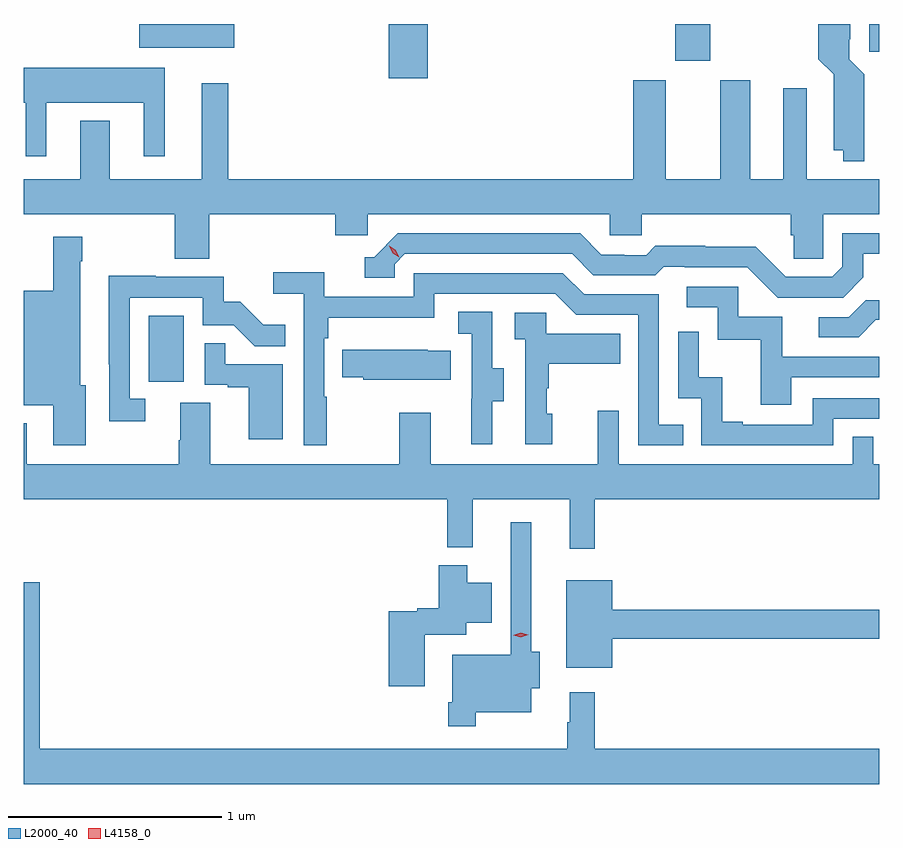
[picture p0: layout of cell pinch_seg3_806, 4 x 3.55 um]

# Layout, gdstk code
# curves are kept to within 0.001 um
import gdstk
lib = gdstk.Library(unit=1e-6, precision=1e-09)
def R(c, l, rs):  # rectangles x0, y0, x1, y1
    for r in rs: c.add(gdstk.rectangle(r[:2], r[2:], *l))
def P(c, l, *ps):  # polygons
    for p in ps: c.add(gdstk.Polygon(p, *l))
L2000_40 = (2000, 40)
L4158_0 = (4158, 0)

pinch_seg3_806 = lib.new_cell('pinch_seg3_806')
R(pinch_seg3_806, L2000_40, [(862.4,726.774,862.564,727.081), (863.522,728.193,863.705,728.446), (864.863,728.274,865.027,728.446), (865.769,728.316,865.816,728.446), (862.356,728.336,862.799,728.446)])
P(pinch_seg3_806, L2000_40, [(865.746,728.108),(865.747,728.21),(865.677,728.28),(865.677,728.374),(865.681,728.374),(865.681,728.446),(865.532,728.446),(865.532,728.282),(865.604,728.21),(865.604,727.856),(865.649,727.856),(865.649,727.805),(865.746,727.805)],
  [(861.922,728.078),(862.376,728.078),(862.376,727.827),(862.474,727.827),(862.474,728.242),(861.816,728.242),(861.816,728.078),(861.824,728.078),(861.824,727.827),(861.922,727.827)],
  [(862.682,727.556),(863.273,727.556),(863.273,727.458),(863.424,727.458),(863.424,727.556),(864.555,727.556),(864.555,727.458),(864.705,727.458),(864.705,727.556),(865.403,727.556),(865.403,727.458),(865.417,727.458),(865.417,727.348),(865.554,727.348),(865.554,727.556),(865.816,727.556),(865.816,727.72),(865.477,727.72),(865.477,728.146),(865.367,728.146),(865.367,727.72),(865.213,727.72),(865.213,728.182),(865.073,728.182),(865.073,727.72),(864.817,727.72),(864.817,728.182),(864.665,728.182),(864.665,727.72),(862.771,727.72),(862.771,728.17),(862.649,728.17),(862.649,727.72),(862.219,727.72),(862.219,727.993),(862.079,727.993),(862.079,727.72),(861.816,727.72),(861.816,727.556),(862.522,727.556),(862.522,727.348),(862.682,727.348)],
  [(865.741,727.261),(865.741,727.371),(865.816,727.371),(865.816,727.467),(865.644,727.467),(865.644,727.311),(865.596,727.263),(865.38,727.263),(865.238,727.405),(865.002,727.405),(865.002,727.408),(864.769,727.408),(864.727,727.365),(864.624,727.365),(864.624,727.368),(864.517,727.368),(864.418,727.467),(863.565,727.467),(863.454,727.356),(863.411,727.356),(863.411,727.26),(863.55,727.26),(863.55,727.323),(863.598,727.371),(864.381,727.371),(864.48,727.272),(864.769,727.272),(864.808,727.311),(864.907,727.311),(864.907,727.308),(865.2,727.308),(865.341,727.167),(865.647,727.167)],
  [(862.105,726.756),(862.081,726.756),(862.081,727.337),(862.089,727.337),(862.089,727.45),(861.953,727.45),(861.953,727.198),(861.816,727.198),(861.816,726.663),(861.953,726.663),(861.953,726.477),(862.105,726.477)],
  [(863.233,726.704),(863.22,726.704),(863.22,726.977),(863.24,726.977),(863.24,727.073),(863.736,727.073),(863.736,727.185),(864.3,727.185),(864.399,727.086),(864.69,727.086),(864.69,726.477),(864.899,726.477),(864.899,726.573),(864.786,726.573),(864.786,727.182),(864.436,727.182),(864.337,727.281),(863.64,727.281),(863.64,727.17),(863.222,727.17),(863.222,727.286),(862.983,727.286),(862.983,727.184),(863.124,727.184),(863.124,726.477),(863.233,726.477)],
  [(862.384,726.693),(862.311,726.693),(862.311,727.167),(862.653,727.167),(862.653,727.038),(862.797,727.038),(862.895,726.94),(863.039,726.94),(863.039,727.039),(862.935,727.039),(862.828,727.146),(862.752,727.146),(862.752,727.263),(862.433,727.263),(862.433,727.268),(862.214,727.268),(862.215,726.588),(862.384,726.588)],
  [(865.405,726.795),(865.816,726.795),(865.816,726.891),(865.363,726.891),(865.363,727.077),(865.158,727.077),(865.158,727.218),(864.915,727.218),(864.915,727.122),(865.062,727.122),(865.062,726.969),(865.261,726.969),(865.261,726.666),(865.405,726.666)],
  [(865.801,727.062),(865.816,727.062),(865.816,727.154),(865.754,727.154),(865.674,727.074),(865.533,727.074),(865.533,726.981),(865.72,726.981)],
  [(864.007,726.682),(864.061,726.682),(864.061,726.837),(864.006,726.837),(864.006,727.1),(863.847,727.1),(863.847,726.997),(863.91,726.997),(863.91,726.693),(863.909,726.693),(863.909,726.48),(864.007,726.48)],
  [(864.286,726.624),(864.261,726.624),(864.261,726.743),(864.271,726.743),(864.271,726.857),(864.605,726.857),(864.605,726.997),(864.258,726.997),(864.258,727.095),(864.111,727.095),(864.111,726.971),(864.162,726.971),(864.162,726.48),(864.286,726.48)],
  [(865.602,726.6),(865.816,726.6),(865.816,726.696),(865.506,726.696),(865.506,726.573),(865.177,726.573),(865.177,726.586),(865.082,726.586),(865.082,726.794),(864.972,726.794),(864.972,727.006),(864.876,727.006),(864.876,726.696),(864.984,726.696),(864.984,726.477),(865.602,726.477)],
  [(863.026,726.855),(862.757,726.855),(862.757,726.953),(862.662,726.953),(862.662,726.759),(862.769,726.759),(862.769,726.747),(862.868,726.747),(862.868,726.504),(863.026,726.504)],
  [(863.813,726.919),(863.705,726.919),(863.705,726.922),(863.305,726.922),(863.305,726.793),(863.403,726.793),(863.403,726.782),(863.813,726.782)],
  [(864.485,726.224),(865.816,726.224),(865.816,726.388),(865.788,726.388),(865.788,726.515),(865.692,726.515),(865.692,726.388),(864.597,726.388),(864.597,726.637),(864.5,726.637),(864.5,726.388),(863.719,726.388),(863.719,726.628),(863.572,726.628),(863.572,726.388),(862.687,726.388),(862.687,726.674),(862.547,726.674),(862.547,726.5),(862.54,726.5),(862.54,726.388),(861.829,726.388),(861.829,726.578),(861.816,726.578),(861.816,726.224),(863.797,726.224),(863.797,725.999),(863.915,725.999),(863.915,726.224),(864.368,726.224),(864.368,725.991),(864.485,725.991)],
  [(863.929,725.228),(864.19,725.228),(864.19,725.339),(864.229,725.339),(864.229,725.51),(864.19,725.51),(864.19,726.115),(864.093,726.115),(864.093,725.497),(863.82,725.497),(863.82,725.275),(863.8,725.275),(863.8,725.163),(863.929,725.163)],
  [(863.692,725.591),(863.884,725.591),(863.884,725.645),(864.004,725.645),(864.004,725.833),(863.89,725.833),(863.89,725.914),(863.756,725.914),(863.756,725.714),(863.655,725.714),(863.655,725.701),(863.522,725.701),(863.522,725.349),(863.692,725.349)],
  [(864.568,725.572),(865.816,725.572),(865.816,725.708),(864.568,725.708),(864.568,725.845),(864.353,725.845),(864.353,725.435),(864.568,725.435)],
  [(865.816,725.056),(864.485,725.056),(864.485,725.32),(864.368,725.32),(864.368,725.18),(864.357,725.18),(864.357,725.056),(861.89,725.056),(861.89,725.836),(861.816,725.836),(861.816,724.892),(865.816,724.892)])
P(pinch_seg3_806, L4158_0, [(863.572,727.355),(863.542,727.375),(863.526,727.408),(863.526,727.408),(863.526,727.408),(863.556,727.388),(863.572,727.356),(863.572,727.355)],
  [(864.141,725.579),(864.105,725.588),(864.104,725.588),(864.105,725.588),(864.14,725.599),(864.176,725.591),(864.176,725.59),(864.176,725.59)])

lib.write_gds('pinch_seg3_806.gds')
